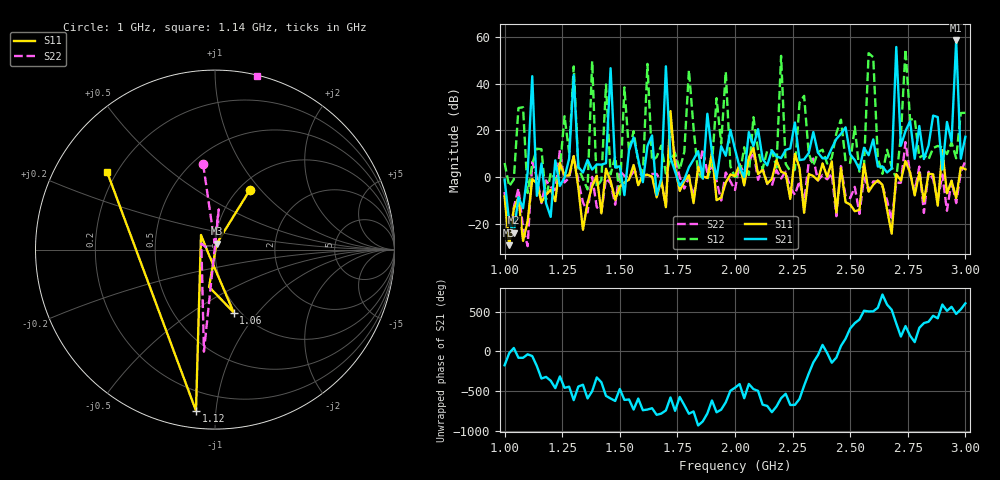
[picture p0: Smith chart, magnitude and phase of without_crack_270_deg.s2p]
# MHz S MA R 50
!  freq  S11  S21  S12  S22
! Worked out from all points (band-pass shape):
!   101 points, 1 GHz to 3 GHz, reference 50 ohm
!   highest |S21| = 58.47 dB at 2.96 GHz (marker M1); lowest = -23.8 dB at 1.04 GHz (marker M2)
!   |S21| within 3 dB of the highest: 2.699922 GHz to 2.700096 GHz (174.6 kHz wide, 0.00647 % of centre); 2.958613 GHz to 2.961186 GHz (2.574 MHz wide, 0.087 % of centre)
!   lowest |S11| = -29.2 dB at 1.02 GHz (marker M3), VSWR 1.07, Z = 50.8 + j3.4 ohm
!   |S11| at or under -10 dB: 1.002 GHz to 1.055 GHz (53.09 MHz wide, 5.16 % of centre); 1.061 GHz to 1.11 GHz (48.54 MHz wide, 4.47 % of centre); 2.479 GHz to 2.544 GHz (65.02 MHz wide, 2.59 % of centre) (the widest 3 of 14)
!   |S22| runs from -29.5 to 24.1 dB; largest |S21 - S12| = 8.4e+02
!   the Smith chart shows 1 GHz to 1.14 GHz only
!   S11 on the Smith chart (normalised r, x): 1 GHz: 1.12, +0.88; 1.06 GHz: 0.94, -0.76; 1.12 GHz: 0.09, -0.88; 1.14 GHz: 0.17, +0.31
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1000  0.3864 59.7  0.8873 -173.6  2.007 7.7  0.481 97.9
1020  0.03468 74.8  0.107 -21.4  0.6365 172.3  0.03633 93.4
1040  0.21 -99.0  0.0643 43.1  0.8915 63.9  0.2248 84.7
1060  0.3657 -73.4  0.3727 -79.3  30.01 -39.1  0.5718 -96.2
1120  0.904 -96.7  144.2 -58.5  1.9 31.7  2.119 -107.3
1140  0.7392 144.3  0.3979 175.8  4.043 -142.6  0.9931 76.4
1340  0.0751 73.2  1.256 -57.8  0.9187 60.1  0.2917 95.9
1680  0.8787 39.3  0.9107 -60.1  4.731 60.8  0.8011 93.1
2000  1.045 97.0  3.953 -95.5  1.01 67.0  0.5307 -55.6
2200  1.306 89.3  2.548 132.9  392.6 -90.0  0.9365 98.2
2340  1.055 76.6  9.206 -137.9  1.765 -117.6  2.49 85.1
2560  1.941 -174.6  4.25 150.3  1.774 0.2  0.9832 -110.5
2580  0.4892 121.5  2.937 141.7  447.5 -16.1  0.5058 85.2
2600  0.6875 98.5  6.4 142.5  366.9 70.1  0.8052 87.0
2680  0.06175 173.7  1.527 162.8  1.658 -156.3  0.1192 -71.4
2700  1.159 85.9  607.4 -8.8  0.9346 121.3  0.7547 -143.6
2720  0.8466 48.0  4.686 -173.6  7.654 -145.7  0.7599 74.2
2740  2.22 -49.0  9.663 -41.7  541.3 -165.3  5.615 50.5
2760  1.255 176.0  15.76 -163.0  16.76 -135.4  1.193 175.9
2940  0.8327 4.2  5.769 -160.3  5.509 1.0  0.8356 -0.6
2960  0.3569 40.3  838 110.4  2.533 10.8  0.278 42.4
3000  1.469 -51.0  7.31 -116.9  23.76 88.3  2.228 -71.9
